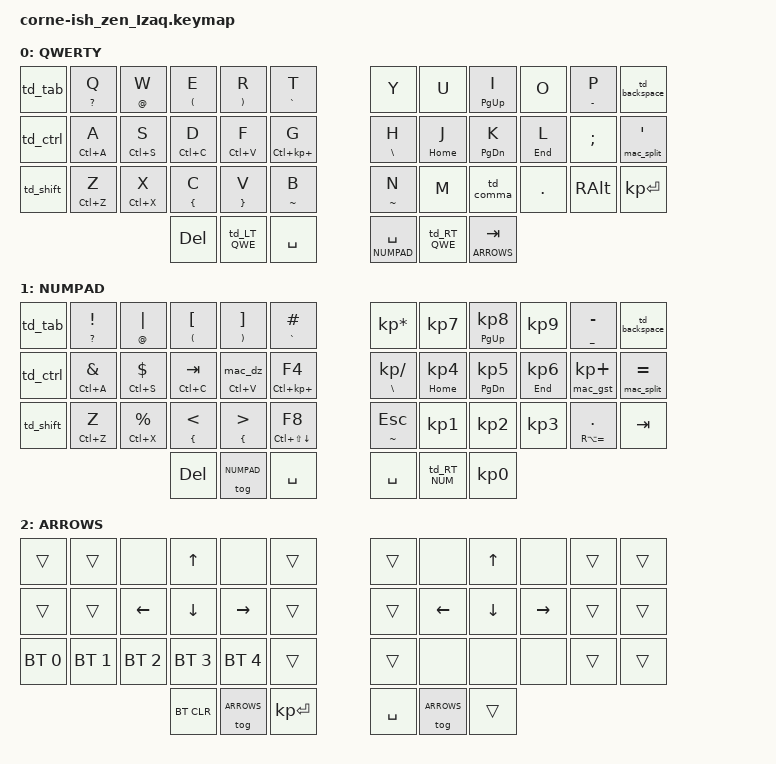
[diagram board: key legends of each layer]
/*
*
* Copyright (c) 2021 lowprokb.ca
* SPDX-License-Identifier: MIT
*
*/

#include <behaviors.dtsi>
#include <dt-bindings/zmk/keys.h>
#include <dt-bindings/zmk/bt.h>

#define QWERTY 0
#define NUMPAD 1
#define ARROWS 2

&mt {
    tapping-term-ms = <250>;
    flavor = "tap-preferred";
};

/ {

/*      
 *       BEHAVIORS                      =====================================================================
 */

      behaviors {   

/*       Right Hand Layer Toggles       -------------------------------------
 *
 *       QWERTY LAYER   
 *
 *       Usage: &td_RT_QWE
 *       Hold: Momentary NUMPAD Layer
 *       Double Tap: Toggle NUMPAD Layer
 *       Tripple Tap: Toggle ARROWS Layer
 */

         td_RT_QWE: tap_dance_0 {    
               compatible = "zmk,behavior-tap-dance";  
               label = "TAP_DANCE_RT_QWERTY";   
               #binding-cells = <0>;    
               tapping-term-ms = <300>;    
               bindings = <&mo NUMPAD>, <&tog NUMPAD>, <&tog ARROWS>; 
               };
 
/*       NUMPAD LAYER   
 *
 *       Usage: &td_RT_NUM
 *       Hold: Momentary QWERTY Layer
 *       Double Tap: Toggle ARROWS Layer
 */        

         td_RT_NUM: tap_dance_1 {    
               compatible = "zmk,behavior-tap-dance";  
               label = "TAP_DANCE_RT_NUMPAD";   
               #binding-cells = <0>;    
               tapping-term-ms = <300>;    
               bindings = <&mo NUMPAD>, <&tog NUMPAD>; 
               };
 

/*       Left Hand Layer Toggles       -------------------------------------
 *
 *       QWERTY LAYER   
 *
 *       Usage: &td_LT_QWE
 *       Hold: Momentary NUMPAD Layer
 *       Double Tap: Toggle ARROWS Layer
 */

         td_LT_QWE: tap_dance_2 {    
               compatible = "zmk,behavior-tap-dance";  
               label = "TAP_DANCE_LT_QWERTY";   
               #binding-cells = <0>;    
               tapping-term-ms = <300>;    
               bindings = <&mo NUMPAD>, <&tog ARROWS>; 
               };
 
/*       NUMPAD LAYER   
 *
 *       Usage: &td_LT_NUM
 *       Hold: Momentary QWERTY Layer
 *       Double Tap: Toggle QWERTY Layer
 */        

         td_LT_NUM: tap_dance_3 {    
               compatible = "zmk,behavior-tap-dance";  
               label = "TAP_DANCE_LT_NUMPAD";   
               #binding-cells = <0>;    
               tapping-term-ms = <300>;    
               bindings = <&mo QWERTY>, <&tog QWERTY>; 
               };
 

/*       Left SHIFT Key                   -------------------------------------
 *
 *       Usage: &td_shift
 *       Hold: SHIFT
 *       Double Tap: Caps Lock
 *       Tripple Tap: Caps Word
 */

         td_shift: tap_dance_4 {
              compatible = "zmk,behavior-tap-dance";
              label = "TAP_DANCE_SHIFT";
              #binding-cells = <0>;
              tapping-term-ms = <300>;
              bindings = <&kp LSHFT>, <&kp CAPSLOCK>, <&caps_word>;
         };

/*
 *       Tab Esc Win                     -------------------------------------
 *
 *       Usage: &td_tab
 *       Hold: Control
 *       Double Tap: Alt+Tab
 */

         td_tab: tap_dance_5 {
              compatible = "zmk,behavior-tap-dance";
              label = "TAP_DANCE_TAB";
              #binding-cells = <0>;
              tapping-term-ms = <300>;
              bindings = <&kp TAB>, <&kp LWIN>, <&kp ESC>;
         };         

/*
 *       Control and Alt Tab                     -------------------------------------
 *
 *       Usage: &td_ctrl
 *       Hold: Control
 *       Double Tap: Alt+Tab
 */

         td_ctrl: tap_dance_6 {
              compatible = "zmk,behavior-tap-dance";
              label = "TAP_DANCE_CONTROL";
              #binding-cells = <0>;
              tapping-term-ms = <300>;
              bindings = <&kp LCTRL>, <&kp LA(TAB)>, <&mac_split>;
         };  

/*
 *       Backspace                     -------------------------------------
 *
 *       Usage: &td_backspace
 *       Hold: Backspace
 *       Double Backspace
 *       Tripple Tap: Ctrl + Backspace
 */

         td_backspace: tap_dance_7 {
              compatible = "zmk,behavior-tap-dance";
              label = "TAP_DANCE_BACKSPACE";
              #binding-cells = <0>;
              tapping-term-ms = <100>;
              bindings = <&kp BSPC>, <&mac_db>, <&kp LC(BSPC)>;
         };  

/*
 *       Semicolon                     -------------------------------------
 *
 *       Usage: &td_comma
 *       Hold: Comma
 *       Double Ctrl + COMMA
 */

         td_comma: tap_dance_8 {
              compatible = "zmk,behavior-tap-dance";
              label = "TAP_DANCE_COMMA";
              #binding-cells = <0>;
              tapping-term-ms = <300>;
              bindings = <&kp COMMA>, <&kp LC(COMMA)>;
         };  

/*
 *       double zero hold tap                     -------------------------------------
 *
 *       Usage: &ht0 LC(V) 0
 */

         ht0: holdtap0 {
               compatible = "zmk,behavior-hold-tap";
               label = "HT_ZERO";
               #binding-cells = <2>;
               tapping-term-ms = <200>; 
               quick-tap-ms = <0>;
               flavor = "tap-preferred";
               bindings = <&kp>, <&mac_dz>;
         };


/*
 *       slipt screen hold tap                     -------------------------------------
 *
 *       Usage: &ht1 0 APOSTROPHE
 */

         ht1: holdtap1 {
               compatible = "zmk,behavior-hold-tap";
               label = "HT_SPLIT";
               #binding-cells = <2>;
               tapping-term-ms = <200>; 
               quick-tap-ms = <0>;
               flavor = "tap-preferred";
               bindings = <&mac_split>, <&kp>;
         };

/*
 *       slipt screen hold tap                     -------------------------------------
 *
 *       Usage: &ht3 0 KP_PLUS
 */

         ht3: holdtap3 {
               compatible = "zmk,behavior-hold-tap";
               label = "HT_GST";
               #binding-cells = <2>;
               tapping-term-ms = <200>; 
               quick-tap-ms = <0>;
               flavor = "tap-preferred";
               bindings = <&mac_gst>, <&kp>;
         };



      };

/*      
 *       MACROS                           =====================================================================
 */

macros { 

/*       
 *       Double Zero   
 *
 *       Usage: &mac_dz
 */

        mac_dz: mac_doublezero {
            label = "MAC_DOUBLEZERO";
            compatible = "zmk,behavior-macro";
            #binding-cells = <0>;
            tap-ms = <10>;
            bindings
                = <&macro_tap &kp N0 &kp N0>;
        };

/*       
 *       Double Backspace   
 *
 *       Usage: &mac_db
 */

        mac_db: mac_doubleback {
            label = "MAC_DOUBLEBACK";
            compatible = "zmk,behavior-macro";
            #binding-cells = <0>;
            tap-ms = <10>;
            bindings
                = <&macro_tap &kp BSPC &kp BSPC>;
        };

/*       
 *       Split Screen   
 *
 *       Usage: &mac_split
 *
 */
        mac_split: mac_splitscreen {
            label = "MAC_SPLITSCREEN";
            compatible = "zmk,behavior-macro";
            #binding-cells = <0>;
            bindings
                 = <&macro_tap &kp LG(LEFT_ARROW)>
                 , <&macro_wait_time 500>
                 , <&macro_tap &kp LA(TAB)>
                 , <&macro_wait_time 500>
                 , <&macro_tap &kp LG(RIGHT_ARROW)>
                 ;
        };
    

    };
 
/*       
 *       GST   
 *
 *       Usage: &mac_gst
 */

        mac_gst: mac_geest {
            label = "MAC_GST";
            compatible = "zmk,behavior-macro";
            #binding-cells = <0>;
            bindings
                = <&macro_tap &kp G &kp S &kp T>;
        };


/*       
 *      KEYMAP                            =====================================================================
 */

        keymap {
                compatible = "zmk,keymap";

                qwerty_layer {
                        label = "QWERTY";
                        bindings = <
   &td_tab        &mt QMARK Q    &mt AT W       &mt LPAR E        &mt RPAR R        &mt GRAVE T                      &kp Y             &kp U       &mt PAGE_UP I        &kp O        &mt MINUS P    &td_backspace
   &td_ctrl       &mt LC(A) A    &mt LC(S) S    &mt LC(C) D       &mt LC(V) F       &mt LC(KP_PLUS) G                &mt BACKSLASH  H  &mt HOME J  &mt PAGE_DOWN K      &mt END L    &kp SEMI       &ht1 0 APOSTROPHE 
   &td_shift      &mt LC(Z) Z    &mt LC(X) X    &mt LBRC C        &mt RBRC V        &mt TILDE  B                     &mt TILDE N       &kp M       &td_comma            &kp DOT      &kp RALT       &kp KP_ENTER
                                                &kp DEL           &td_LT_QWE        &kp SPACE                        &lt NUMPAD SPACE  &td_RT_QWE  &lt ARROWS TAB

                        >;
                };

                numpad_layer {
                        label = "NUMPAD";
                        bindings = <
   &td_tab        &mt QMARK EXCL    &mt AT PIPE     &mt LPAR LBKT     &mt RPAR RBKT     &mt GRAVE HASH               &kp KP_MULTIPLY          &kp KP_N7         &mt PAGE_UP KP_N8      &kp KP_N9       &mt UNDER MINUS     &td_backspace
   &td_ctrl       &mt LC(A) AMPS    &mt LC(S) DLLR  &mt LC(C) TAB     &ht0 LC(V) 0      &mt LC(KP_PLUS) F4           &mt BACKSLASH KP_SLASH   &mt HOME KP_N4    &mt PAGE_DOWN KP_N5    &mt END KP_N6   &ht3 0 KP_PLUS      &ht1 0 EQUAL 
   &td_shift      &mt LC(Z) Z       &mt LC(X) PRCNT &mt LBRC LT       &mt LBRC GT       &mt LC(LS(DOWN)) F8          &mt TILDE ESC            &kp KP_N1         &kp KP_N2              &kp KP_N3       &mt RA(EQUAL) DOT   &kp TAB
                                                    &kp DEL           &tog NUMPAD       &kp SPACE                    &kp SPACE                &td_RT_NUM        &kp KP_N0

                        >;
                };

                arrows_layer {
                        label = "ARROWS";
                        bindings = <
   &trans       &trans         &none          &kp UP         &none          &trans                                 &trans      &none       &kp UP      &none       &trans   &trans
   &trans       &trans         &kp LEFT       &kp DOWN       &kp RIGHT      &trans                                 &trans      &kp LEFT    &kp DOWN    &kp RIGHT   &trans   &trans
   &bt BT_SEL 0 &bt BT_SEL 1   &bt BT_SEL 2   &bt BT_SEL 3   &bt BT_SEL 4   &trans                                 &trans      &none       &none       &none       &trans   &trans
                                              &bt BT_CLR     &tog ARROWS    &kp KP_ENTER                           &kp SPACE   &tog ARROWS &trans         
                        >;
                };
        };
};
